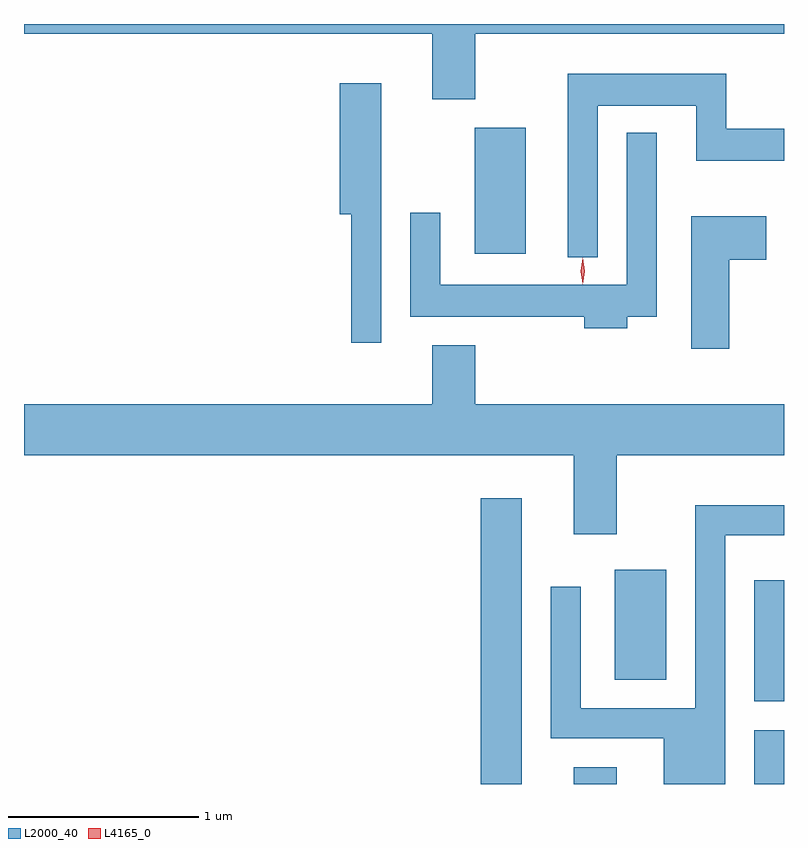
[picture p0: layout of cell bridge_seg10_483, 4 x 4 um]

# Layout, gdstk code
import gdstk
lib = gdstk.Library(unit=1e-6, precision=1e-09)
def R(c, l, rs):  # rectangles x0, y0, x1, y1
    for r in rs: c.add(gdstk.rectangle(r[:2], r[2:], *l))
def P(c, l, *ps):  # polygons
    for p in ps: c.add(gdstk.Polygon(p, *l))
L2000_40 = (2000, 40)
L4165_0 = (4165, 0)

bridge_seg10_483 = lib.new_cell('bridge_seg10_483')
R(bridge_seg10_483, L2000_40, [(867.976,2172.126,868.194,2173.629), (868.466,2172.126,868.694,2172.214), (869.416,2172.126,869.573,2172.409), (869.416,2172.561,869.573,2173.199), (868.681,2172.676,868.954,2173.254), (867.946,2174.916,868.214,2175.579)])
P(bridge_seg10_483, L2000_40, [(867.949,2176.076),(869.573,2176.076),(869.573,2176.126),(865.573,2176.126),(865.573,2176.076),(867.721,2176.076),(867.721,2175.731),(867.949,2175.731)],
  [(868.594,2175.696),(869.111,2175.696),(869.111,2175.406),(869.573,2175.406),(869.573,2175.574),(869.269,2175.574),(869.269,2175.864),(868.436,2175.864),(868.436,2174.898),(868.594,2174.898)],
  [(867.454,2175.814),(867.236,2175.814),(867.236,2175.126),(867.296,2175.126),(867.296,2174.448),(867.454,2174.448)],
  [(868.749,2174.586),(868.904,2174.586),(868.904,2175.553),(868.746,2175.553),(868.746,2174.754),(867.764,2174.754),(867.764,2175.133),(867.606,2175.133),(867.606,2174.586),(868.521,2174.586),(868.521,2174.526),(868.749,2174.526)],
  [(869.284,2174.886),(869.479,2174.886),(869.479,2175.114),(869.086,2175.114),(869.086,2174.416),(869.284,2174.416)],
  [(868.694,2173.856),(869.573,2173.856),(869.573,2174.124),(867.949,2174.124),(867.949,2174.434),(867.721,2174.434),(867.721,2174.124),(865.573,2174.124),(865.573,2173.856),(868.466,2173.856),(868.466,2173.441),(868.694,2173.441)],
  [(869.264,2173.436),(869.573,2173.436),(869.573,2173.594),(869.106,2173.594),(869.106,2172.524),(868.504,2172.524),(868.504,2173.163),(868.346,2173.163),(868.346,2172.366),(868.941,2172.366),(868.941,2172.126),(869.264,2172.126)])
P(bridge_seg10_483, L4165_0, [(868.514,2174.757),(868.505,2174.826),(868.514,2174.896),(868.515,2174.896),(868.515,2174.896),(868.525,2174.826),(868.515,2174.757),(868.515,2174.757)],
  [(868.514,2174.759),(868.514,2174.76),(868.504,2174.826),(868.514,2174.892),(868.514,2174.893),(868.515,2174.892),(868.524,2174.826),(868.515,2174.76)])

lib.write_gds('bridge_seg10_483.gds')
